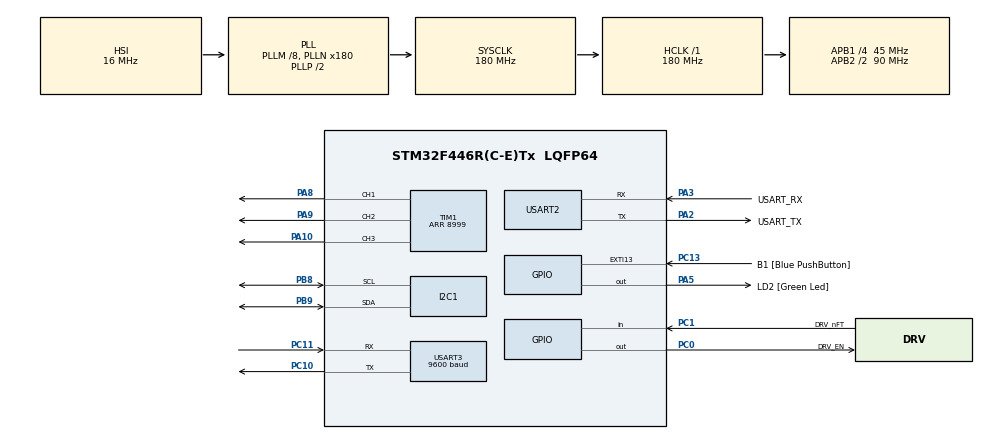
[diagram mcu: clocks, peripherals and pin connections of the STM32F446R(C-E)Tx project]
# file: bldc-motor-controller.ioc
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FREERTOS.Mutexes01=sharedDataMutex,Dynamic,NULL,Available;i2cMutex,Dynamic,NULL,Available
FREERTOS.Tasks01=motorTask,40,512,StartMotorTask,Default,NULL,Dynamic,NULL,NULL;monitorTask,32,256,StartMonitorTask,Default,NULL,Dynamic,NULL,NULL;bluetoothTask,24,256,StartBluetoothTask,Default,NULL,Dynamic,NULL,NULL;displayTask,16,256,StartDisplayTask,Default,NULL,Dynamic,NULL,NULL
FREERTOS.configTOTAL_HEAP_SIZE=16384
I2C1.I2C_Mode=I2C_Fast
Mcu.Family=STM32F4
Mcu.Name=STM32F446R(C-E)Tx
Mcu.Package=LQFP64
NVIC.PriorityGroup=NVIC_PRIORITYGROUP_4
NVIC.TIM6_DAC_IRQn=true\:15\:0\:false\:false\:true\:false\:false\:true\:true
NVIC.TimeBase=TIM6_DAC_IRQn
NVIC.TimeBaseIP=TIM6
NVIC.USART3_IRQn=true\:5\:0\:false\:false\:true\:true\:true\:true\:true
PA10.Signal=S_TIM1_CH3
PA13.GPIO_Label=TMS
PA13.Mode=Serial_Wire
PA13.Signal=SYS_JTMS-SWDIO
PA14.GPIO_Label=TCK
PA14.Mode=Serial_Wire
PA14.Signal=SYS_JTCK-SWCLK
PA2.GPIO_Label=USART_TX
PA2.Mode=Asynchronous
PA2.Signal=USART2_TX
PA3.GPIO_Label=USART_RX
PA3.Mode=Asynchronous
PA3.Signal=USART2_RX
PA5.GPIO_Label=LD2 [Green Led]
PA5.Signal=GPIO_Output
PA8.Signal=S_TIM1_CH1
PA9.Signal=S_TIM1_CH2
PB3.GPIO_Label=SWO
PB3.Signal=SYS_JTDO-SWO
PB8.Mode=I2C
PB8.Signal=I2C1_SCL
PB9.Mode=I2C
PB9.Signal=I2C1_SDA
PC0.GPIO_Label=DRV_EN
PC0.Signal=GPIO_Output
PC1.GPIO_Label=DRV_nFT
PC1.GPIO_PuPd=GPIO_PULLUP
PC1.Signal=GPIO_Input
PC10.Mode=Asynchronous
PC10.Signal=USART3_TX
PC11.Mode=Asynchronous
PC11.Signal=USART3_RX
PC13.GPIO_Label=B1 [Blue PushButton]
PC13.GPIO_ModeDefaultEXTI=GPIO_MODE_IT_FALLING
PC13.Signal=GPXTI13
PC14-OSC32_IN.Signal=RCC_OSC32_IN
PC15-OSC32_OUT.Signal=RCC_OSC32_OUT
PH0-OSC_IN.Mode=HSE-External-Clock-Source
PH0-OSC_IN.Signal=RCC_OSC_IN
PH1-OSC_OUT.Mode=HSE-External-Clock-Source
PH1-OSC_OUT.Signal=RCC_OSC_OUT
ProjectManager.HeapSize=0x200
ProjectManager.StackSize=0x400
ProjectManager.TargetToolchain=Makefile
RCC.48MHZClocksFreq_Value=84000000
RCC.AHBFreq_Value=180000000
RCC.APB1CLKDivider=RCC_HCLK_DIV4
RCC.APB1Freq_Value=45000000
RCC.APB1TimFreq_Value=90000000
RCC.APB2CLKDivider=RCC_HCLK_DIV2
RCC.APB2Freq_Value=90000000
RCC.APB2TimFreq_Value=180000000
RCC.CortexFreq_Value=180000000
RCC.FLatency-AdvancedSettings=FLASH_LATENCY_5
RCC.HCLKFreq_Value=180000000
RCC.HSE_VALUE=8000000
RCC.HSI_VALUE=16000000
RCC.PLLM=8
RCC.PLLN=180
RCC.SYSCLKFreq_VALUE=180000000
RCC.SYSCLKSource=RCC_SYSCLKSOURCE_PLLCLK
RCC.USBFreq_Value=180000000
RCC.VCOOutputFreq_Value=360000000
SH.S_TIM1_CH1.0=TIM1_CH1,PWM Generation1 CH1
SH.S_TIM1_CH2.0=TIM1_CH2,PWM Generation2 CH2
SH.S_TIM1_CH3.0=TIM1_CH3,PWM Generation3 CH3
TIM1.AutoReloadPreload=TIM_AUTORELOAD_PRELOAD_ENABLE
TIM1.Channel-PWM\ Generation1\ CH1=TIM_CHANNEL_1
TIM1.Channel-PWM\ Generation2\ CH2=TIM_CHANNEL_2
TIM1.Channel-PWM\ Generation3\ CH3=TIM_CHANNEL_3
TIM1.Period=8999
TIM2.Prescaler=89
USART2.VirtualMode=VM_ASYNC
USART3.BaudRate=9600
USART3.VirtualMode=VM_ASYNC
VP_FREERTOS_VS_CMSIS_V2.Mode=CMSIS_V2
VP_SYS_VS_tim6.Mode=TIM6
VP_TIM1_VS_ClockSourceINT.Mode=Internal
VP_TIM2_VS_ClockSourceINT.Mode=Internal
board=NUCLEO-F446RE

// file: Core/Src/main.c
/* USER CODE BEGIN Header */
/**
  ******************************************************************************
  * @file           : main.c
  * @brief          : Main program body
  ******************************************************************************
  * @attention
  *
  * Copyright (c) 2026 STMicroelectronics.
  * All rights reserved.
  *
  * This software is licensed under terms that can be found in the LICENSE file
  * in the root directory of this software component.
  * If no LICENSE file comes with this software, it is provided AS-IS.
  *
  ******************************************************************************
  */
/* USER CODE END Header */
#include "main.h"
#include "cmsis_os.h"
#include "i2c.h"
#include "tim.h"
#include "usart.h"
#include "gpio.h"

/* USER CODE BEGIN Includes */
#include "motor.h"
#include <stdio.h>
#include <string.h>
/* USER CODE END Includes */

void SystemClock_Config(void);
void MX_FREERTOS_Init(void);

/* USER CODE BEGIN 0 */
int _write(int file, char *ptr, int len) // retargeting the _write() function so that printf() sends data over the UART2 peripheral
{
  (void)file; // file not used
  HAL_UART_Transmit(&huart2, (uint8_t *)ptr, len, HAL_MAX_DELAY); // pointer to the huart2 handle, casting char* to uint8_t*, # of bytes to send, wait for transmission to complete (no timeout)
  return len; // return number of bytes written
}
/* USER CODE END 0 */

int main(void)
{

  /* MCU Configuration--------------------------------------------------------*/

  /* Reset of all peripherals, Initializes the Flash interface and the Systick. */
  HAL_Init();

  /* Configure the system clock */
  SystemClock_Config();

  /* USER CODE BEGIN SysInit */
  // Clears I2C1 busy state caused by a mid-transaction reset
  __HAL_RCC_I2C1_FORCE_RESET();
  HAL_Delay(2);
  __HAL_RCC_I2C1_RELEASE_RESET();
  /* USER CODE END SysInit */

  /* Initialize all configured peripherals */
  MX_GPIO_Init();
  MX_USART2_UART_Init();
  MX_I2C1_Init();
  MX_TIM1_Init();
  MX_USART3_UART_Init();
  MX_TIM2_Init();
  /* USER CODE BEGIN 2 */

  HAL_TIM_Base_Start(&htim2);

  /* USER CODE END 2 */

  /* Init scheduler */
  osKernelInitialize();  /* Call init function for freertos objects (in cmsis_os2.c) */
  MX_FREERTOS_Init();

  /* Start scheduler */
  osKernelStart();

  /* We should never get here as control is now taken by the scheduler */

  /* Infinite loop */
  while (1)
  {

  }
}

void SystemClock_Config(void)
{
  RCC_OscInitTypeDef RCC_OscInitStruct = {0};
  RCC_ClkInitTypeDef RCC_ClkInitStruct = {0};

  /** Configure the main internal regulator output voltage
  */
  __HAL_RCC_PWR_CLK_ENABLE();
  __HAL_PWR_VOLTAGESCALING_CONFIG(PWR_REGULATOR_VOLTAGE_SCALE1);

  /** Initializes the RCC Oscillators according to the specified parameters
  * in the RCC_OscInitTypeDef structure.
  */
  RCC_OscInitStruct.OscillatorType = RCC_OSCILLATORTYPE_HSI;
  RCC_OscInitStruct.HSIState = RCC_HSI_ON;
  RCC_OscInitStruct.HSICalibrationValue = RCC_HSICALIBRATION_DEFAULT;
  RCC_OscInitStruct.PLL.PLLState = RCC_PLL_ON;
  RCC_OscInitStruct.PLL.PLLSource = RCC_PLLSOURCE_HSI;
  RCC_OscInitStruct.PLL.PLLM = 8;
  RCC_OscInitStruct.PLL.PLLN = 180;
  RCC_OscInitStruct.PLL.PLLP = RCC_PLLP_DIV2;
  RCC_OscInitStruct.PLL.PLLQ = 2;
  RCC_OscInitStruct.PLL.PLLR = 2;
  if (HAL_RCC_OscConfig(&RCC_OscInitStruct) != HAL_OK)
  {
    Error_Handler();
  }

  /** Activate the Over-Drive mode
  */
  if (HAL_PWREx_EnableOverDrive() != HAL_OK)
  {
    Error_Handler();
  }

  /** Initializes the CPU, AHB and APB buses clocks
  */
  RCC_ClkInitStruct.ClockType = RCC_CLOCKTYPE_HCLK|RCC_CLOCKTYPE_SYSCLK
                              |RCC_CLOCKTYPE_PCLK1|RCC_CLOCKTYPE_PCLK2;
  RCC_ClkInitStruct.SYSCLKSource = RCC_SYSCLKSOURCE_PLLCLK;
  RCC_ClkInitStruct.AHBCLKDivider = RCC_SYSCLK_DIV1;
  RCC_ClkInitStruct.APB1CLKDivider = RCC_HCLK_DIV4;
  RCC_ClkInitStruct.APB2CLKDivider = RCC_HCLK_DIV2;

  if (HAL_RCC_ClockConfig(&RCC_ClkInitStruct, FLASH_LATENCY_5) != HAL_OK)
  {
    Error_Handler();
  }
}

void HAL_TIM_PeriodElapsedCallback(TIM_HandleTypeDef *htim)
{
  if (htim->Instance == TIM6)
  {
    HAL_IncTick();
  }
}

void Error_Handler(void)
{
  __disable_irq();
  while (1)
  {
  }
}

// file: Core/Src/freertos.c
/* USER CODE BEGIN Header */
/**
  ******************************************************************************
  * File Name          : freertos.c
  * Description        : Code for freertos applications
  ******************************************************************************
  * @attention
  *
  * Copyright (c) 2026 STMicroelectronics.
  * All rights reserved.
  *
  * This software is licensed under terms that can be found in the LICENSE file
  * in the root directory of this software component.
  * If no LICENSE file comes with this software, it is provided AS-IS.
  *
  ******************************************************************************
  */
/* USER CODE END Header */

#include "FreeRTOS.h"
#include "task.h"
#include "main.h"
#include "cmsis_os.h"

/* USER CODE BEGIN Includes */
#include "as5600.h"
#include "encoder.h"
#include "pid.h"
#include "motor.h"
#include "ina226.h"
#include "bluetooth.h"
#include "display.h"
#include <stdio.h>
#include <string.h>
#include <stdint.h>

volatile float targetRPM = 0; // Global target RPM variable accessible by all tasks. Stays 0 until commanded
volatile float actualRPM; // Global RPM variable accessible by all tasks
volatile float current; // mA
volatile uint16_t motorEN = 0; // Set by bluetoothTask. Initialized to zero to ensure motor is disabled at startup
volatile uint16_t systemFault; // Set by monitorTask and motorTask

/* USER CODE END Includes */

/* USER CODE BEGIN PD */
// Temporary definitions
#define LEAD 2 // Starts at 120 degrees and decays to 60 degrees as rotor sweeps through sector (average 90 degrees)

// 700 mA fault threshold
// Below 819 mA, the max current the INA226 can measure and above the amount of current that the motor usually draws
#define OVERCURRENT 700.0f
/* USER CODE END PD */

/* Definitions for motorTask */
osThreadId_t motorTaskHandle;
const osThreadAttr_t motorTask_attributes = {
  .name = "motorTask",
  .stack_size = 512 * 4,
  .priority = (osPriority_t) osPriorityHigh,
};
/* Definitions for monitorTask */
osThreadId_t monitorTaskHandle;
const osThreadAttr_t monitorTask_attributes = {
  .name = "monitorTask",
  .stack_size = 256 * 4,
  .priority = (osPriority_t) osPriorityAboveNormal,
};
/* Definitions for bluetoothTask */
osThreadId_t bluetoothTaskHandle;
const osThreadAttr_t bluetoothTask_attributes = {
  .name = "bluetoothTask",
  .stack_size = 256 * 4,
  .priority = (osPriority_t) osPriorityNormal,
};
/* Definitions for displayTask */
osThreadId_t displayTaskHandle;
const osThreadAttr_t displayTask_attributes = {
  .name = "displayTask",
  .stack_size = 256 * 4,
  .priority = (osPriority_t) osPriorityBelowNormal,
};
/* Definitions for sharedDataMutex */
osMutexId_t sharedDataMutexHandle;
const osMutexAttr_t sharedDataMutex_attributes = {
  .name = "sharedDataMutex"
};
/* Definitions for i2cMutex */
osMutexId_t i2cMutexHandle;
const osMutexAttr_t i2cMutex_attributes = {
  .name = "i2cMutex"
};

void StartMotorTask(void *argument);
void StartMonitorTask(void *argument);
void StartBluetoothTask(void *argument);
void StartDisplayTask(void *argument);

void MX_FREERTOS_Init(void); /* (MISRA C 2004 rule 8.1) */

void MX_FREERTOS_Init(void) {
  /* Create the mutex(es) */
  /* creation of sharedDataMutex */
  sharedDataMutexHandle = osMutexNew(&sharedDataMutex_attributes);

  /* creation of i2cMutex */
  i2cMutexHandle = osMutexNew(&i2cMutex_attributes);

  /* Create the thread(s) */
  /* creation of motorTask */
  motorTaskHandle = osThreadNew(StartMotorTask, NULL, &motorTask_attributes);

  /* creation of monitorTask */
  monitorTaskHandle = osThreadNew(StartMonitorTask, NULL, &monitorTask_attributes);

  /* creation of bluetoothTask */
  bluetoothTaskHandle = osThreadNew(StartBluetoothTask, NULL, &bluetoothTask_attributes);

  /* creation of displayTask */
  displayTaskHandle = osThreadNew(StartDisplayTask, NULL, &displayTask_attributes);

}

void StartMotorTask(void *argument)
{
  /* USER CODE BEGIN StartMotorTask */
  uint16_t angle = 0;
  uint16_t readFailures = 0; // Counts the number of consecutive failed AS5600 reads

  osMutexAcquire(i2cMutexHandle, osWaitForever);
  HAL_StatusTypeDef status = AS5600_ReadAngle(&angle);
  osMutexRelease(i2cMutexHandle);

  PID_t speedPID; // Declares speedPID variable of the PID_t type
  Encoder_Initialize(angle);
  Motor_Initialize();
  PID_Initialize(&speedPID);

  uint32_t currentPidTick = 0;
  uint32_t previousPidTick = __HAL_TIM_GET_COUNTER(&htim2); //Initializes previousPidTick to include runtime since HAL_TIM_Base_Start

  // Initializes nextWake to the current tick
  // Each loop iteration advances nextWake by one and sleeps until systick reaches nextWake, scheduling the task to run every 1ms
  TickType_t nextWake = osKernelGetTickCount(); // osKernelGetTickCount() gets the number of ticks (configured to 1 ms per tick) since boot
  /* Infinite loop */
  for(;;)
  {
    osMutexAcquire(sharedDataMutexHandle, osWaitForever); // Wait forever until mutex is available to assign these variables
    float mutexTargetRPM = targetRPM; // Copies targetRPM while holding its mutex so the rest of the loop uses an unchanging value instead of trying to read the global targetRPM that another task may be writing
    uint16_t mutexEN = motorEN;
    uint16_t mutexFault = systemFault;
    osMutexRelease(sharedDataMutexHandle); // Releases the mutex so it can be used by the next task

    if (!mutexEN || mutexFault) {
      Motor_Disable();
      PID_Reset(&speedPID); // Zeros values in PID struct so that integral does not continue accumulating
      previousPidTick = __HAL_TIM_GET_COUNTER(&htim2); // Resets previousPidTick when the motor is stopped

      // Resets actualRPM to zero when the motor is stopped
      osMutexAcquire(sharedDataMutexHandle, osWaitForever);
      actualRPM = 0.0f;
      osMutexRelease(sharedDataMutexHandle);

      nextWake = nextWake + 1; // Increases the nextWake value by one tick
      osDelayUntil(nextWake); // motorTask sleeps until one tick after the last wake, effectively scheduling the task to run every ms
      continue; // Jumps to the next loop iteration
    }

    Motor_Enable(); // EN is set high every loop iteration to ensure the motor is enabled after startup, a fault, or a stop

    osMutexAcquire(i2cMutexHandle, osWaitForever);
    status = AS5600_ReadAngle(&angle);
    osMutexRelease(i2cMutexHandle);

    if (status != HAL_OK) {
      Motor_Disable();

      if (++readFailures >= 5) { // Faults after 5 consecutive As5600 read failures so small glitches don't fault the system
        printf("Angle Read Error:%d\r\n", status);

        osMutexAcquire(sharedDataMutexHandle, osWaitForever);
        systemFault = 1;
        motorEN = 0;
        osMutexRelease(sharedDataMutexHandle);
      }

      nextWake = nextWake + 1; // Increases the nextWake value by one tick
      osDelayUntil(nextWake); // motorTask sleeps until one tick after the last wake, effectively scheduling the task to run every ms
      continue; // Jumps to next loop iteration

    } else if (status == HAL_OK) {

      readFailures = 0; // Resets the readFailures counter to zero if the read is successful
      Encoder_Update(angle);

      // New RPM variable used in PID_Update and to update actualRPM
      float RPM = Encoder_GetRPM();

      osMutexAcquire(sharedDataMutexHandle, osWaitForever);
      actualRPM = RPM; // Updating actualRPM for use by other tasks
      osMutexRelease(sharedDataMutexHandle);

      currentPidTick = __HAL_TIM_GET_COUNTER(&htim2);
      float dt = (currentPidTick - previousPidTick) / 1000000.0f; // Measures dt in seconds

      float dutyCycle;
      dutyCycle = PID_Update(&speedPID, mutexTargetRPM, RPM, dt);

      // Clamps dutyCycle to 40% if actual RPM is less than 80% of targetRPM to prevent the motor from drawing too much current on startup
      if (RPM < (mutexTargetRPM * 0.8f) && dutyCycle > 40.0f) {
        dutyCycle = 40.0f;
      }

      // Wraps sector because adding LEAD can produce out of bounds values like 6 or 7
      Motor_ApplyCommutation(((Encoder_GetSector() + LEAD) % 6), dutyCycle);

      // Sets previousPidTick for next iteration's dt calculation
      previousPidTick = currentPidTick;
      }

      nextWake = nextWake + 1; // Increases the nextWake value by one tick
      osDelayUntil(nextWake); // motorTask sleeps until one tick after the last wake, effectively scheduling the task to run every ms
  }
  /* USER CODE END StartMotorTask */
}

void StartMonitorTask(void *argument)
{
  /* USER CODE BEGIN StartMonitorTask */
  float localCurrent;

  osMutexAcquire(i2cMutexHandle, osWaitForever);
  HAL_StatusTypeDef status = INA226_Initialize();
  osMutexRelease(i2cMutexHandle);

  if (status != HAL_OK) {
    printf("Current Initialization Error:%d\r\n", status);

    osMutexAcquire(sharedDataMutexHandle, osWaitForever);
    systemFault = 1;
    motorEN = 0;
    osMutexRelease(sharedDataMutexHandle);
  }

  TickType_t nextWake = osKernelGetTickCount();

  /* Infinite loop */
  for(;;)
  {
    osMutexAcquire(i2cMutexHandle, osWaitForever);
    status = INA226_ReadCurrent(&localCurrent);
    osMutexRelease(i2cMutexHandle);

    if (status != HAL_OK) {
      printf("Current Read Failure:%d\r\n", status);

      osMutexAcquire(sharedDataMutexHandle, osWaitForever);
      systemFault = 1;
      motorEN = 0;
      osMutexRelease(sharedDataMutexHandle);

      nextWake = nextWake + 10; // Increases the nextWake value by 10 ticks
      osDelayUntil(nextWake); // monitorTask sleeps until 10 ticks after the last wake, effectively scheduling the task to run every 10 ms
      continue; // Jumps to next loop iteration
    } else if (status == HAL_OK) {

      osMutexAcquire(sharedDataMutexHandle, osWaitForever); // Wait forever until mutex is available to assign these variables
      current = localCurrent; // Updating the global current variable for use by other tasks
      osMutexRelease(sharedDataMutexHandle); // Releases the mutex so it can be used by the next task

      if (localCurrent > OVERCURRENT) {
        printf("Current exceeds limit:%.1f\r\n", localCurrent);

        osMutexAcquire(sharedDataMutexHandle, osWaitForever);
        systemFault = 1;
        motorEN = 0;
        osMutexRelease(sharedDataMutexHandle);
      }

      if (Motor_CheckFault()) {
        printf("Motor Fault\r\n");

        osMutexAcquire(sharedDataMutexHandle, osWaitForever);
        systemFault = 1;
        motorEN = 0;
        osMutexRelease(sharedDataMutexHandle);
      }
    }
      nextWake = nextWake + 10; // Increases the nextWake value by 10 ticks
      osDelayUntil(nextWake); // monitorTask sleeps until 10 ticks after the last wake, effectively scheduling the task to run every 10 ms
  }
  /* USER CODE END StartMonitorTask */
}

void StartBluetoothTask(void *argument)
{
  /* USER CODE BEGIN StartBluetoothTask */
  Bluetooth_Initialize();

  TickType_t nextWake = osKernelGetTickCount();
  TickType_t nextStatusSend = osKernelGetTickCount();
  /* Infinite loop */
  for(;;)
  {
    float rpm;
    BluetoothCommand_t command = Bluetooth_Update(&rpm);

    if (command == Bluetooth_RPM) {
        osMutexAcquire(sharedDataMutexHandle, osWaitForever);
        targetRPM = rpm;
        osMutexRelease(sharedDataMutexHandle);

    } else if (command == Bluetooth_Start) { // If Python app sends START
        osMutexAcquire(sharedDataMutexHandle, osWaitForever);
        motorEN = 1;
        systemFault = 0;
        osMutexRelease(sharedDataMutexHandle);

    } else if (command == Bluetooth_Stop) { // If Python app sends STOP
        osMutexAcquire(sharedDataMutexHandle, osWaitForever);
        motorEN = 0;
        osMutexRelease(sharedDataMutexHandle);
    }

    if (osKernelGetTickCount() >= nextStatusSend) {

      // Copies the globals into locals for Bluetooth_Send
        osMutexAcquire(sharedDataMutexHandle, osWaitForever);
        float sendActualRPM = actualRPM;
        float sendTargetRPM = targetRPM;
        float sendCurrent = current;
        uint16_t sendMotorEN = motorEN;
        uint16_t sendSystemFault = systemFault;
        osMutexRelease(sharedDataMutexHandle);
        Bluetooth_Send(sendActualRPM, sendTargetRPM, sendCurrent, sendMotorEN, sendSystemFault);

        // Increases the nextStatusSend value by 100 ticks, thus the function is called every 100 ticks
        // 100 ms because an ~80ms message can't be run every 20ms
        nextStatusSend = nextStatusSend + 100;

    }

    nextWake = nextWake + 20; // Increases the nextWake value by 20 ticks
    osDelayUntil(nextWake); // bluetoothTask sleeps until 20 ticks after the last wake, effectively scheduling the task to run every 20 ms

  }
  /* USER CODE END StartBluetoothTask */
}

void StartDisplayTask(void *argument)
{
  /* USER CODE BEGIN StartDisplayTask */
  Display_Initialize();

  TickType_t nextWake = osKernelGetTickCount();
  /* Infinite loop */
  for(;;)
  {
    osMutexAcquire(sharedDataMutexHandle, osWaitForever);
    float displayTargetRPM = targetRPM;
    float displayActualRPM = actualRPM;
    float displayCurrent = current;
    uint16_t displayMotorEN = motorEN;
    uint16_t displaySystemFault = systemFault;
    osMutexRelease(sharedDataMutexHandle);

    Display_Update(displayActualRPM, displayTargetRPM, displayCurrent, displayMotorEN, displaySystemFault); // Takes ~24ms so  the i2c mutex is held in ssd1306.c per section, instead of for the whole function

    nextWake = nextWake + 200; // Increases the nextWake value by 200 ticks
    osDelayUntil(nextWake); // displayTask sleeps until 200 ticks after the last wake, effectively scheduling the task to run every 200 ms
  }
  /* USER CODE END StartDisplayTask */
}
